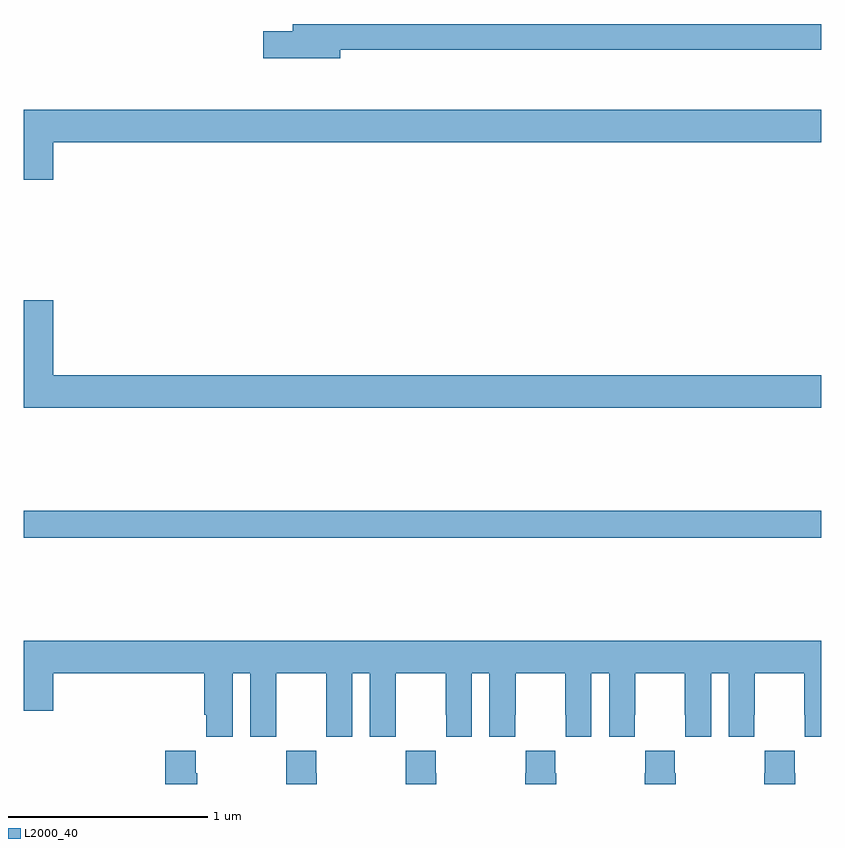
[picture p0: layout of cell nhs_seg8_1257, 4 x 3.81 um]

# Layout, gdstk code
import gdstk
lib = gdstk.Library(unit=1e-6, precision=1e-09)
def R(c, l, rs):  # rectangles x0, y0, x1, y1
    for r in rs: c.add(gdstk.rectangle(r[:2], r[2:], *l))
def P(c, l, *ps):  # polygons
    for p in ps: c.add(gdstk.Polygon(p, *l))
L2000_40 = (2000, 40)

nhs_seg8_1257 = lib.new_cell('nhs_seg8_1257')
R(nhs_seg8_1257, L2000_40, [(189,1161.136,193,1161.272)])
P(nhs_seg8_1257, L2000_40, [(190.588,1163.586),(193,1163.586),(193,1163.714),(190.349,1163.714),(190.349,1163.678),(190.2,1163.678),(190.2,1163.543),(190.588,1163.543)],
  [(189.148,1163.12),(193,1163.12),(193,1163.284),(189,1163.284),(189,1162.932),(189.148,1162.932)],
  [(193,1161.952),(189.148,1161.952),(189.148,1162.327),(189,1162.327),(189,1161.788),(193,1161.788)],
  [(189,1160.268),(189.148,1160.268),(189.148,1160.456),(189.905,1160.456),(189.905,1160.248),(189.914,1160.248),(189.914,1160.136),(190.048,1160.136),(190.048,1160.456),(190.136,1160.456),(190.136,1160.136),(190.266,1160.136),(190.266,1160.248),(190.267,1160.248),(190.267,1160.456),(190.517,1160.456),(190.517,1160.248),(190.518,1160.248),(190.518,1160.136),(190.648,1160.136),(190.648,1160.456),(190.736,1160.456),(190.736,1160.136),(190.866,1160.136),(190.866,1160.248),(190.867,1160.248),(190.867,1160.456),(191.117,1160.456),(191.117,1160.248),(191.118,1160.248),(191.118,1160.136),(191.248,1160.136),(191.248,1160.456),(191.336,1160.456),(191.336,1160.136),(191.466,1160.136),(191.466,1160.248),(191.467,1160.248),(191.467,1160.456),(191.717,1160.456),(191.717,1160.248),(191.718,1160.248),(191.718,1160.136),(191.848,1160.136),(191.848,1160.456),(191.936,1160.456),(191.936,1160.136),(192.066,1160.136),(192.066,1160.248),(192.067,1160.248),(192.067,1160.456),(192.317,1160.456),(192.317,1160.248),(192.318,1160.248),(192.318,1160.136),(192.448,1160.136),(192.448,1160.456),(192.536,1160.456),(192.536,1160.136),(192.666,1160.136),(192.666,1160.248),(192.667,1160.248),(192.667,1160.456),(192.917,1160.456),(192.917,1160.248),(192.918,1160.248),(192.918,1160.136),(193,1160.136),(193,1160.62),(189,1160.62)],
  [(190.917,1159.955),(190.915,1159.955),(190.915,1159.9),(191.07,1159.9),(191.07,1159.955),(191.067,1159.955),(191.067,1160.068),(190.917,1160.068)],
  [(190.47,1159.955),(190.467,1159.955),(190.467,1160.068),(190.317,1160.068),(190.317,1159.955),(190.315,1159.955),(190.315,1159.9),(190.47,1159.9)],
  [(189.87,1159.955),(189.863,1159.955),(189.863,1160.068),(189.71,1160.068),(189.71,1159.9),(189.87,1159.9)],
  [(192.87,1159.955),(192.867,1159.955),(192.867,1160.068),(192.717,1160.068),(192.717,1159.955),(192.715,1159.955),(192.715,1159.9),(192.87,1159.9)],
  [(192.27,1159.955),(192.267,1159.955),(192.267,1160.068),(192.117,1160.068),(192.117,1159.955),(192.115,1159.955),(192.115,1159.9),(192.27,1159.9)],
  [(191.67,1159.955),(191.667,1159.955),(191.667,1160.068),(191.517,1160.068),(191.517,1159.955),(191.515,1159.955),(191.515,1159.9),(191.67,1159.9)])

lib.write_gds('nhs_seg8_1257.gds')
